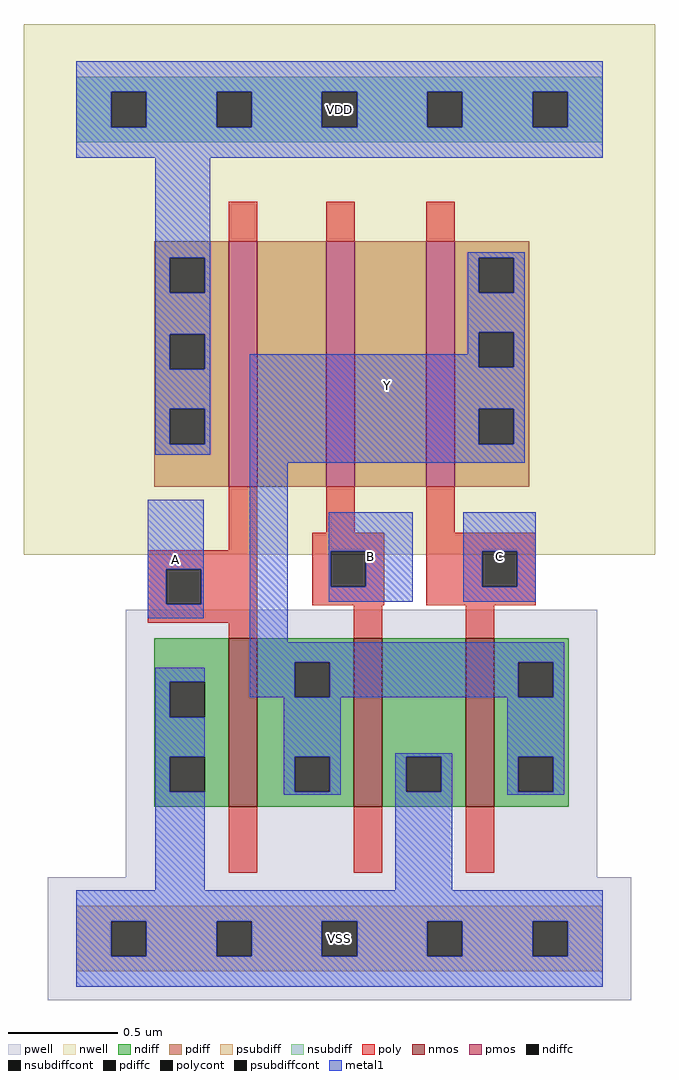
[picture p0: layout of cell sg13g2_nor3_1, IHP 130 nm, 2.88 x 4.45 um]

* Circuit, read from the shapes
.subckt sg13g2_nor3_1 A Y B C VDD VSS
XM1 Y A VSS VSS sg13_lv_nmos w=0.77u l=0.13u
XM2 VSS B Y VSS sg13_lv_nmos w=0.77u l=0.13u
XM3 Y C VSS VSS sg13_lv_nmos w=0.77u l=0.13u
XM4 n1 A VDD VDD sg13_lv_pmos w=1.12u l=0.13u
XM5 n2 B n1 VDD sg13_lv_pmos w=1.12u l=0.13u
XM6 Y C n2 VDD sg13_lv_pmos w=1.12u l=0.13u
.ends

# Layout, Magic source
magic
tech ihp-sg13g2
magscale 1 2
<< nwell >>
rect -48 350 528 834
<< pwell >>
rect 45 56 475 300
rect -26 -56 506 56
<< nmos >>
rect 139 120 165 274
rect 253 120 279 274
rect 355 120 381 274
<< pmos >>
rect 139 412 165 636
rect 228 412 254 636
rect 319 412 345 636
<< ndiff >>
rect 71 234 139 274
rect 71 202 85 234
rect 117 202 139 234
rect 71 166 139 202
rect 71 134 85 166
rect 117 134 139 166
rect 71 120 139 134
rect 165 252 253 274
rect 165 220 199 252
rect 231 220 253 252
rect 165 166 253 220
rect 165 134 199 166
rect 231 134 253 166
rect 165 120 253 134
rect 279 166 355 274
rect 279 134 301 166
rect 333 134 355 166
rect 279 120 355 134
rect 381 252 449 274
rect 381 220 403 252
rect 435 220 449 252
rect 381 166 449 220
rect 381 134 403 166
rect 435 134 449 166
rect 381 120 449 134
<< pdiff >>
rect 71 621 139 636
rect 71 589 85 621
rect 117 589 139 621
rect 71 551 139 589
rect 71 519 85 551
rect 117 519 139 551
rect 71 483 139 519
rect 71 451 85 483
rect 117 451 139 483
rect 71 412 139 451
rect 165 412 228 636
rect 254 412 319 636
rect 345 621 413 636
rect 345 589 367 621
rect 399 589 413 621
rect 345 553 413 589
rect 345 521 367 553
rect 399 521 413 553
rect 345 483 413 521
rect 345 451 367 483
rect 399 451 413 483
rect 345 412 413 451
<< ndiffc >>
rect 85 202 117 234
rect 85 134 117 166
rect 199 220 231 252
rect 199 134 231 166
rect 301 134 333 166
rect 403 220 435 252
rect 403 134 435 166
<< pdiffc >>
rect 85 589 117 621
rect 85 519 117 551
rect 85 451 117 483
rect 367 589 399 621
rect 367 521 399 553
rect 367 451 399 483
<< psubdiff >>
rect 0 16 480 30
rect 0 -16 32 16
rect 64 -16 128 16
rect 160 -16 224 16
rect 256 -16 320 16
rect 352 -16 416 16
rect 448 -16 480 16
rect 0 -30 480 -16
<< nsubdiff >>
rect 0 772 480 786
rect 0 740 32 772
rect 64 740 128 772
rect 160 740 224 772
rect 256 740 320 772
rect 352 740 416 772
rect 448 740 480 772
rect 0 726 480 740
<< psubdiffcont >>
rect 32 -16 64 16
rect 128 -16 160 16
rect 224 -16 256 16
rect 320 -16 352 16
rect 416 -16 448 16
<< nsubdiffcont >>
rect 32 740 64 772
rect 128 740 160 772
rect 224 740 256 772
rect 320 740 352 772
rect 416 740 448 772
<< poly >>
rect 139 636 165 672
rect 228 636 254 672
rect 319 636 345 672
rect 139 354 165 412
rect 228 370 254 412
rect 319 370 345 412
rect 65 337 165 354
rect 65 305 82 337
rect 114 305 165 337
rect 65 288 165 305
rect 215 353 281 370
rect 215 321 232 353
rect 264 321 281 353
rect 215 304 281 321
rect 319 353 419 370
rect 319 321 370 353
rect 402 321 419 353
rect 319 304 419 321
rect 139 274 165 288
rect 253 274 279 304
rect 355 274 381 304
rect 139 60 165 120
rect 253 60 279 120
rect 355 60 381 120
<< polycont >>
rect 82 305 114 337
rect 232 321 264 353
rect 370 321 402 353
<< metal1 >>
rect 0 772 480 800
rect 0 740 32 772
rect 64 740 128 772
rect 160 740 224 772
rect 256 740 320 772
rect 352 740 416 772
rect 448 740 480 772
rect 0 712 480 740
rect 72 621 122 712
rect 72 589 85 621
rect 117 589 122 621
rect 72 551 122 589
rect 72 519 85 551
rect 117 519 122 551
rect 357 621 409 626
rect 357 589 367 621
rect 399 589 409 621
rect 357 553 409 589
rect 357 533 367 553
rect 72 483 122 519
rect 72 451 85 483
rect 117 451 122 483
rect 72 441 122 451
rect 158 521 367 533
rect 399 521 409 553
rect 158 483 409 521
rect 158 451 367 483
rect 399 451 409 483
rect 158 434 409 451
rect 65 337 116 400
rect 65 305 82 337
rect 114 305 116 337
rect 65 292 116 305
rect 158 270 193 434
rect 230 353 307 389
rect 230 321 232 353
rect 264 321 307 353
rect 230 307 307 321
rect 353 353 419 389
rect 353 321 370 353
rect 402 321 419 353
rect 353 307 419 321
rect 158 252 445 270
rect 72 234 117 247
rect 72 202 85 234
rect 158 220 199 252
rect 231 220 403 252
rect 435 220 445 252
rect 72 166 117 202
rect 72 134 85 166
rect 72 44 117 134
rect 189 166 241 220
rect 189 134 199 166
rect 231 134 241 166
rect 189 131 241 134
rect 291 166 343 169
rect 291 134 301 166
rect 333 134 343 166
rect 291 44 343 134
rect 393 166 445 220
rect 393 134 403 166
rect 435 134 445 166
rect 393 131 445 134
rect 0 16 480 44
rect 0 -16 32 16
rect 64 -16 128 16
rect 160 -16 224 16
rect 256 -16 320 16
rect 352 -16 416 16
rect 448 -16 480 16
rect 0 -44 480 -16
<< labels >>
flabel metal1 s 65 292 116 400 0 FreeSans 400 0 0 0 A
port 2 nsew
flabel metal1 s 158 476 409 533 0 FreeSans 400 0 0 0 Y
port 3 nsew
flabel metal1 s 230 307 307 389 0 FreeSans 400 0 0 0 B
port 4 nsew
flabel metal1 s 353 307 419 389 0 FreeSans 400 0 0 0 C
port 5 nsew
flabel metal1 s 0 712 480 800 0 FreeSans 400 0 0 0 VDD
port 6 nsew
flabel metal1 s 0 -44 480 44 0 FreeSans 400 0 0 0 VSS
port 7 nsew
<< properties >>
string FIXED_BBOX 0 0 480 756
string GDS_END 103594
string GDS_FILE ../gds/controller.gds
string GDS_START 99078
<< end >>
